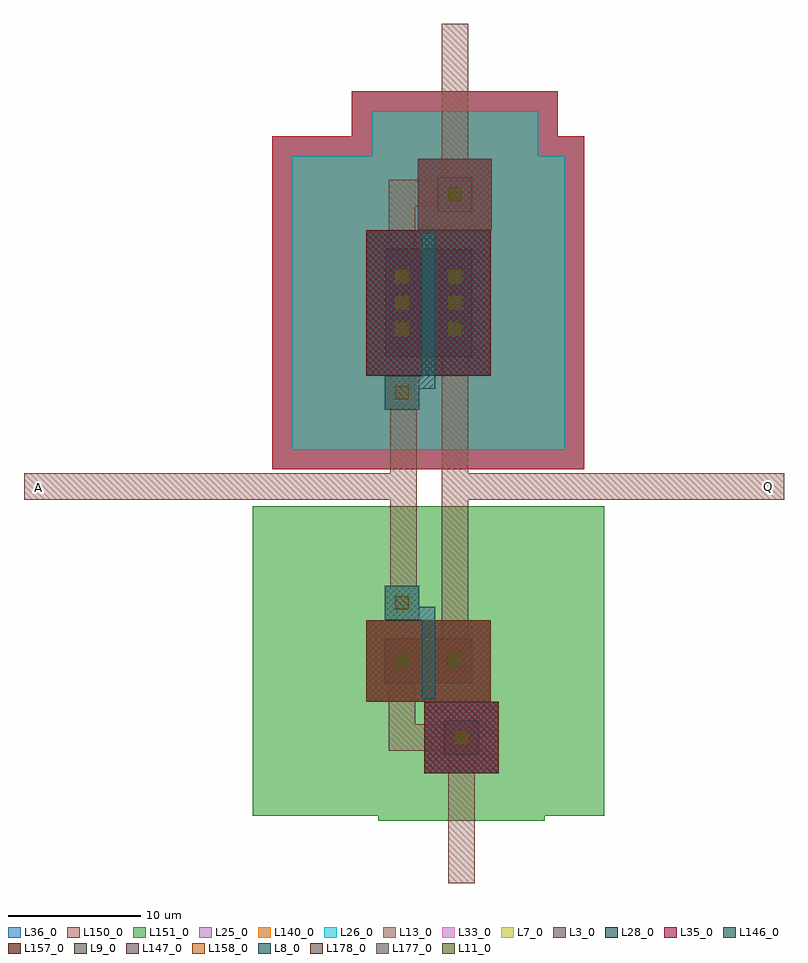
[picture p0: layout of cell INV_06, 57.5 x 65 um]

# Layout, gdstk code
import gdstk
lib = gdstk.Library(unit=1e-6, precision=1e-07)
def R(c, l, rs):  # rectangles x0, y0, x1, y1
    for r in rs: c.add(gdstk.rectangle(r[:2], r[2:], *l))
L3_0 = (3, 0)
L7_0 = (7, 0)
L8_0 = (8, 0)
L9_0 = (9, 0)
L11_0 = (11, 0)
L13_0 = (13, 0)
L25_0 = (25, 0)
L26_0 = (26, 0)
L28_0 = (28, 0)
L33_0 = (33, 0)
L35_0 = (35, 0)
L36_0 = (36, 0)
L140_0 = (140, 0)
L146_0 = (146, 0)
L147_0 = (147, 0)
L150_0 = (150, 0)
L151_0 = (151, 0)
L157_0 = (157, 0)
L158_0 = (158, 0)
L177_0 = (177, 0)
L178_0 = (178, 0)

dcont = lib.new_cell('dcont')
R(dcont, L3_0, [(-1.3,-1.3,1.3,1.3)])
R(dcont, L11_0, [(-0.5,-0.5,0.5,0.5)])
R(dcont, L13_0, [(-1.3,-1.3,1.3,1.3), (-0.5,-0.5,0.5,0.5)])

pcont = lib.new_cell('pcont')
R(pcont, L8_0, [(-1.3,-1.3,1.3,1.3)])
R(pcont, L11_0, [(-0.5,-0.5,0.5,0.5)])
R(pcont, L13_0, [(-1.3,-1.3,1.3,1.3), (-0.5,-0.5,0.5,0.5)])

c_dcont = lib.new_cell('DCONT')
R(c_dcont, L3_0, [(-1.3,-1.3,1.3,1.3)])
R(c_dcont, L11_0, [(-0.5,-0.5,0.5,0.5)])
R(c_dcont, L13_0, [(-1.3,-1.3,1.3,1.3), (-0.5,-0.5,0.5,0.5)])

psubcont = lib.new_cell('psubcont')
R(psubcont, L7_0, [(-2.8,-2.7,2.8,2.7)])
R(psubcont, L28_0, [(-2.8,-2.7,2.8,2.7)])
R(psubcont, L33_0, [(-2.8,-2.7,2.8,2.7)])
R(psubcont, L35_0, [(-2.8,-2.7,2.8,2.7)])
R(psubcont, L151_0, [(-6.3,-6.3,6.3,6.3)])
R(psubcont, L178_0, [(-2.8,-2.7,2.8,2.7)])
psubcont.add(gdstk.Reference(c_dcont, (0,0)))

mn_1 = lib.new_cell('MN$1')
R(mn_1, L3_0, [(0,3.6,6.6,7)])
R(mn_1, L9_0, [(-1.4,2.2,8,8.4)])
R(mn_1, L33_0, [(-1.4,2.2,8,8.4)])
R(mn_1, L35_0, [(-1.4,2.2,8,8.4)])
R(mn_1, L147_0, [(-1.4,2.2,8,8.4)])
R(mn_1, L151_0, [(-10,-6.4,16.6,17)])
R(mn_1, L158_0, [(-1.4,2.2,8,8.4)])
mn_1.add(gdstk.FlexPath([(1.3,3.6),(1.3,7)], 2.6, ends="flush", simple_path=True, layer=13, datatype=0))  # L13_0
mn_1.add(gdstk.FlexPath([(5.3,3.6),(5.3,7)], 2.6, ends="flush", simple_path=True, layer=13, datatype=0))  # L13_0
mn_1.add(gdstk.FlexPath([(1.3,1.3),(1.3,4.6)], 1.8, ends="flush", simple_path=True, layer=13, datatype=0))  # L13_0
mn_1.add(gdstk.FlexPath([(5.3,6),(5.3,9.3)], 1.8, ends="flush", simple_path=True, layer=13, datatype=0))  # L13_0
mn_1.add(gdstk.FlexPath([(3.3,3.6),(3.3,7)], 1, ends=(1.2, 1.2), simple_path=True, layer=8, datatype=0))  # L8_0
mn_1.add(gdstk.FlexPath([(1.3,8.9),(3.3,8.9),(3.3,8.2)], 1, ends="flush", simple_path=True, layer=8, datatype=0))  # L8_0
mn_1.add(gdstk.Reference(dcont, (1.3,5.3)))
mn_1.add(gdstk.Reference(dcont, (5.3,5.3)))
mn_1.add(gdstk.Reference(pcont, (1.3,9.7)))
mn_1.add(gdstk.Reference(psubcont, (5.8,-0.5)))

nsubcont = lib.new_cell('nsubcont')
R(nsubcont, L7_0, [(-2.8,-2.7,2.8,2.7)])
R(nsubcont, L9_0, [(-2.8,-2.7,2.8,2.7)])
R(nsubcont, L25_0, [(-6.3,-6.3,6.3,6.3)])
R(nsubcont, L26_0, [(-6.3,-6.3,6.3,6.3)])
R(nsubcont, L33_0, [(-2.8,-2.7,2.8,2.7)])
R(nsubcont, L35_0, [(-2.8,-2.7,2.8,2.7)])
R(nsubcont, L36_0, [(-7.8,-7.8,7.8,7.8)])
R(nsubcont, L140_0, [(-6.3,-6.3,6.3,6.3)])
R(nsubcont, L150_0, [(-7.8,-7.8,7.8,7.8)])
R(nsubcont, L177_0, [(-2.8,-2.7,2.8,2.7)])
nsubcont.add(gdstk.Reference(c_dcont, (0,0)))

c_mp = lib.new_cell('MP')
R(c_mp, L3_0, [(0,3.6,6.6,11.8)])
R(c_mp, L7_0, [(-1.4,2.2,8,13.2)])
R(c_mp, L25_0, [(-7,-3.4,13.6,18.8)])
R(c_mp, L26_0, [(-7,-3.4,13.6,18.8)])
R(c_mp, L28_0, [(-1.4,2.2,8,13.2)])
R(c_mp, L33_0, [(-1.4,2.2,8,13.2)])
R(c_mp, L36_0, [(-8.5,-4.9,15.1,20.3)])
R(c_mp, L140_0, [(-7,-3.4,13.6,18.8)])
R(c_mp, L146_0, [(-1.4,2.2,8,13.2)])
R(c_mp, L150_0, [(-8.5,-4.9,15.1,20.3)])
R(c_mp, L157_0, [(-1.4,2.2,8,13.2)])
c_mp.add(gdstk.FlexPath([(1.3,3.6),(1.3,11.8)], 2.6, ends="flush", simple_path=True, layer=13, datatype=0))  # L13_0
c_mp.add(gdstk.FlexPath([(5.3,3.6),(5.3,11.8)], 2.6, ends="flush", simple_path=True, layer=13, datatype=0))  # L13_0
c_mp.add(gdstk.FlexPath([(1.3,10.8),(1.3,14.1)], 1.8, ends="flush", simple_path=True, layer=13, datatype=0))  # L13_0
c_mp.add(gdstk.FlexPath([(5.3,1.3),(5.3,4.6)], 1.8, ends="flush", simple_path=True, layer=13, datatype=0))  # L13_0
c_mp.add(gdstk.FlexPath([(3.3,3.6),(3.3,11.8)], 1, ends=(1.2, 1.2), simple_path=True, layer=8, datatype=0))  # L8_0
c_mp.add(gdstk.FlexPath([(1.3,1.7),(3.3,1.7),(3.3,2.4)], 1, ends="flush", simple_path=True, layer=8, datatype=0))  # L8_0
c_mp.add(gdstk.Reference(dcont, (1.3,5.7)))
c_mp.add(gdstk.Reference(dcont, (1.3,7.7)))
c_mp.add(gdstk.Reference(dcont, (1.3,9.7)))
c_mp.add(gdstk.Reference(dcont, (5.3,5.7)))
c_mp.add(gdstk.Reference(dcont, (5.3,7.7)))
c_mp.add(gdstk.Reference(dcont, (5.3,9.7)))
c_mp.add(gdstk.Reference(pcont, (1.3,0.9)))
c_mp.add(gdstk.Reference(nsubcont, (5.3,15.9)))

inv_06 = lib.new_cell('INV_06')
inv_06.add(gdstk.FlexPath([(-11.4,36.2),(-11.4,20.2),(-11.5,20.2)], 2, ends="flush", simple_path=True, layer=13, datatype=0))  # L13_0
inv_06.add(gdstk.FlexPath([(-7.5,15.8),(-7.5,45)], 2, ends="flush", simple_path=True, layer=13, datatype=0))  # L13_0
inv_06.add(gdstk.FlexPath([(-11.5,44.9),(-11.5,51.2),(-7.5,51.2),(-7.5,64)], 2, ends="flush", simple_path=True, layer=13, datatype=0))  # L13_0
inv_06.add(gdstk.FlexPath([(-11.5,15.8),(-11.5,10),(-7,10),(-7,-1)], 2, ends="flush", simple_path=True, layer=13, datatype=0))  # L13_0
inv_06.add(gdstk.FlexPath([(-11.4,29),(-40.1,29)], 2, ends="flush", simple_path=True, layer=13, datatype=0))  # L13_0
inv_06.add(gdstk.FlexPath([(-7.5,29),(17.4,29)], 2, ends="flush", simple_path=True, layer=13, datatype=0))  # L13_0
inv_06.add(gdstk.Reference(mn_1, (-12.8,10.5)))
inv_06.add(gdstk.Reference(c_mp, (-12.8,35.2)))
inv_06.add(gdstk.Label('Q', (16.2,29), layer=13, texttype=0))
inv_06.add(gdstk.Label('A', (-39,28.9), layer=13, texttype=0))

lib.write_gds('INV_06.gds')
